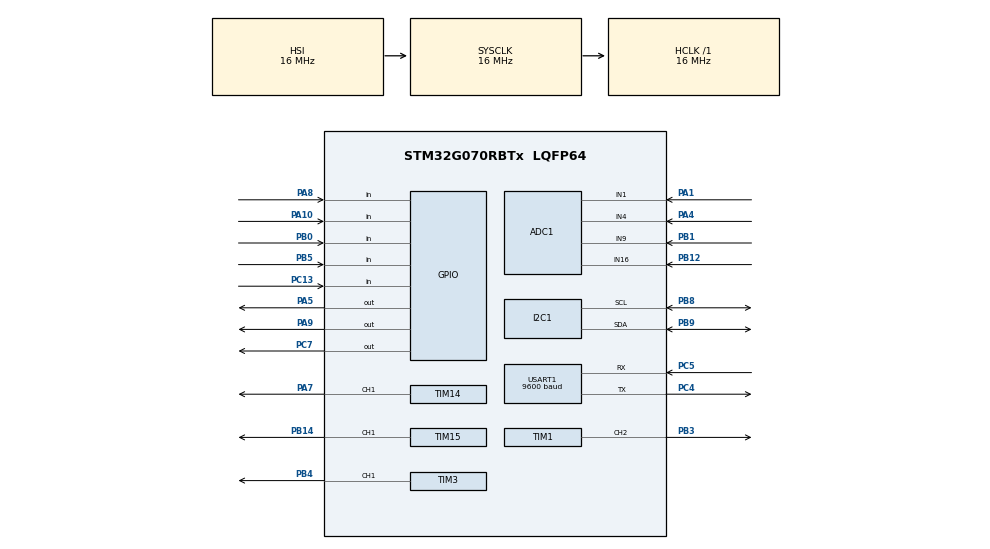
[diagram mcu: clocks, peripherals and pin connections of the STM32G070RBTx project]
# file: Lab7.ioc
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ADC1.DiscontinuousConvMode=ENABLE
ADC1.NbrOfConversion=1
ADC1.NbrOfConversionFlag=0
ADC1.SelectedChannel=ADC_CHANNEL_1|ADC_CHANNEL_4|ADC_CHANNEL_9|ADC_CHANNEL_16
ADC1.Sequencer=NOT_FULLY_CONFIGURABLE
ADC1.master=1
Mcu.Family=STM32G0
Mcu.Name=STM32G070RBTx
Mcu.Package=LQFP64
NVIC.ADC1_IRQn=true\:0\:0\:false\:false\:true\:true\:true\:true
NVIC.USART1_IRQn=true\:0\:0\:false\:false\:true\:true\:true\:true
PA1.Mode=IN1
PA1.Signal=ADC1_IN1
PA10.Signal=GPIO_Input
PA4.Mode=IN4
PA4.Signal=ADC1_IN4
PA5.Signal=GPIO_Output
PA7.Signal=S_TIM14_CH1
PA8.Signal=GPIO_Input
PA9.Signal=GPIO_Output
PB0.Signal=GPIO_Input
PB1.Mode=IN9
PB1.Signal=ADC1_IN9
PB12.Mode=IN16
PB12.Signal=ADC1_IN16
PB14.Signal=S_TIM15_CH1
PB3.Signal=S_TIM1_CH2
PB4.Signal=S_TIM3_CH1
PB5.Signal=GPIO_Input
PB8.Mode=I2C
PB8.Signal=I2C1_SCL
PB9.Mode=I2C
PB9.Signal=I2C1_SDA
PC13.Signal=GPIO_Input
PC4.Mode=Asynchronous
PC4.Signal=USART1_TX
PC5.Mode=Asynchronous
PC5.Signal=USART1_RX
PC7.Signal=GPIO_Output
ProjectManager.HeapSize=0x200
ProjectManager.StackSize=0x400
ProjectManager.TargetToolchain=EWARM V8.32
RCC.AHBFreq_Value=16000000
RCC.CortexFreq_Value=16000000
RCC.EXTERNAL_CLOCK_VALUE=48000
RCC.HCLKFreq_Value=16000000
RCC.HSE_VALUE=8000000
RCC.HSI_VALUE=16000000
RCC.LSE_VALUE=32768
RCC.SYSCLKFreq_VALUE=16000000
RCC.VCOOutputFreq_Value=128000000
SH.S_TIM14_CH1.0=TIM14_CH1,PWM Generation1 CH1
SH.S_TIM15_CH1.0=TIM15_CH1,PWM Generation1 CH1
SH.S_TIM1_CH2.0=TIM1_CH2,PWM Generation2 CH2
SH.S_TIM3_CH1.0=TIM3_CH1,PWM Generation1 CH1
TIM1.Channel-PWM\ Generation2\ CH2=TIM_CHANNEL_2
TIM14.Channel=TIM_CHANNEL_1
TIM14.Period=7000
TIM14.Pulse=3500
TIM15.Channel-PWM\ Generation1\ CH1=TIM_CHANNEL_1
TIM3.Channel-PWM\ Generation1\ CH1=TIM_CHANNEL_1
USART1.BaudRate=9600
USART1.VirtualMode-Asynchronous=VM_ASYNC
VP_SYS_VS_DBSignals.Mode=DisableDeadBatterySignals
VP_TIM14_VS_ClockSourceINT.Mode=Enable_Timer
VP_TIM15_VS_ClockSourceINT.Mode=Internal
VP_TIM1_VS_ClockSourceINT.Mode=Internal
VP_TIM3_VS_ClockSourceINT.Mode=Internal
board=custom

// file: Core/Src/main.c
/* USER CODE BEGIN Header */
/**
  ******************************************************************************
  * @file           : main.c
  * @brief          : Main program body
  ******************************************************************************
  * @attention
  *
  * <h2><center>&copy; Copyright (c) 2021 STMicroelectronics.
  * All rights reserved.</center></h2>
  *
  * This software component is licensed by ST under BSD 3-Clause license,
  * the "License"; You may not use this file except in compliance with the
  * License. You may obtain a copy of the License at:
  *                        opensource.org/licenses/BSD-3-Clause
  *
  ******************************************************************************
  */
/* USER CODE END Header */
#include "main.h"

/* USER CODE BEGIN Includes */
#include "KeyboardHoldRepeat.h"
#include "waveform_16.h"
#include "serial.h"
#include "serial_user.h"
#include "fonts.h"
#include "ssd1306.h"
#include "ux_manager.h"
#include "thermistor.h"
#include "average.h"
#include "Thermocouple.h"

/* USER CODE END Includes */

ADC_HandleTypeDef hadc1;

I2C_HandleTypeDef hi2c1;

TIM_HandleTypeDef htim1;
TIM_HandleTypeDef htim3;
TIM_HandleTypeDef htim14;
TIM_HandleTypeDef htim15;

UART_HandleTypeDef huart1;

/* USER CODE BEGIN PV */
// scheduler stuff
extern uint8_t ten_mS_Flag;
extern uint8_t twentyfive_mS_Flag;
extern uint8_t hundred_mS_Flag;
extern uint8_t one_S_Flag;
#define FIVE_SEC_SEED 5
uint8_t five_S_Counter = FIVE_SEC_SEED;

// LED Control
TIM_OC_InitTypeDef rConfigOC = {0}; // timer 1
TIM_OC_InitTypeDef gConfigOC = {0}; // timer 3
TIM_OC_InitTypeDef bConfigOC = {0}; // timer 15

#define LED_RAMP_TABLE half_sine_table_16_256
//#define LED_RAMP_TABLE linear_ramp_table_16_256
//#define LED_RAMP_TABLE triangle_wave_table_16_256
#define R_INDEX_START 0
#define G_INDEX_START 86
#define B_INDEX_START 172
uint8_t rIndex = R_INDEX_START;
uint8_t gIndex = G_INDEX_START;
uint8_t bIndex = B_INDEX_START;
uint8_t rampRed = true;
uint8_t rampGreen = true;
uint8_t rampBlue = true;
uint16_t ledLevel = 0;
uint8_t changeLeds = false;
uint8_t skipNumber = 8;

// Keyboard
uint8_t keyCode = NO_KEY_PRESSED;

// Display
uint8_t ms200 = false;

// ADC
//number of channels is defined in main.h
uint16_t adcResults[NUMBER_OF_ADC_CHANNELS + 2];                // The locations for the ADC channels
uint8_t adcChanIndex = 0;                                       // State machine variable for reading the ADC (shared with interrupt)

// Thermistor / TC
int16_t thTempInC;
int16_16_average tcAveVoltage;
int16_t tcVoltage;
int16_t tcTempInC;

uint32_t tempture[5][5] = {{175, 175, 175, 175, 170},    // Chicken
                          {125, 135, 145, 150, 160},   //Beef
                          {140, 145, 160, 165, 170},    //Lamb
                          {120, 125, 130, 135, 140},    //Salmon
                          {100, 115, 125, 135, 140}     //Veggie
                         };
uint8_t beepActive = false;
uint8_t beepDisabled = true;
uint8_t beepTime = 0;
/* USER CODE END PV */

void SystemClock_Config(void);
static void MX_GPIO_Init(void);
static void MX_ADC1_Init(void);
static void MX_TIM1_Init(void);
static void MX_TIM3_Init(void);
static void MX_TIM15_Init(void);
static void MX_USART1_UART_Init(void);
static void MX_I2C1_Init(void);
static void MX_TIM14_Init(void);
/* USER CODE BEGIN PFP */
void InitValuesPWM(void);
void SetRedLedLevel(uint16_t r_level);
void SetGreenLedLevel(uint16_t g_level);
void SetBlueLedLevel(uint16_t b_level);
/* USER CODE END PFP */

int main(void)
{

  /* MCU Configuration--------------------------------------------------------*/

  /* Reset of all peripherals, Initializes the Flash interface and the Systick. */
  HAL_Init();

  /* Configure the system clock */
  SystemClock_Config();

  /* Initialize all configured peripherals */
  MX_GPIO_Init();
  MX_ADC1_Init();
  MX_TIM1_Init();
  MX_TIM3_Init();
  MX_TIM15_Init();
  MX_USART1_UART_Init();
  MX_I2C1_Init();
  MX_TIM14_Init();
  /* USER CODE BEGIN 2 */

  // This was messing up the button inputs. There is an internal resistive
  // connection (on this part only) between some IO pins and this turns it off
  // get rid of the pulldowns/crosswire from reset
  HAL_SYSCFG_StrobeDBattpinsConfig(SYSCFG_UCPD1_STROBE);

  // UART related init
  HAL_UART_Transmit(&huart1,"Mornin'!\r\n", 10, 1000); // this tests the UART functionalit

  LL_USART_EnableIT_RXNE_RXFNE(USART1); // this line turns on the UART receive interrupt.

  SendString("\r\nBongiorno!\r\n", 14, StripZeros, AddCRLF);  // this function cal tests the transmit UART interrupt.

  // PWM realted init
  void InitValuesPWM(void);

  HAL_TIM_PWM_Start_IT(&htim15, TIM_CHANNEL_1);
  HAL_TIM_PWM_Start_IT(&htim3, TIM_CHANNEL_1);
  HAL_TIM_PWM_Start_IT(&htim1, TIM_CHANNEL_2);

  // Display related init
  SSD1306_Init();  // initialise

  SSD1306_InvertDisplay(1);
  SSD1306_Clear();
  SSD1306_GotoXY (0,0);
  SSD1306_Puts("Spider-Man", &Font_11x18, SSD1306_COLOR_WHITE);
  SSD1306_GotoXY(0,30);
  SSD1306_Puts("Arif's Thermometer", &Font_7x10, SSD1306_COLOR_WHITE);
  SSD1306_UpdateScreen();

  HAL_Delay (2000);

  SwitchScreens(MAIN);

  InitInt16RunAverage16(&tcAveVoltage);

  HAL_GPIO_WritePin(GPIOC, GPIO_PIN_7, GPIO_PIN_SET);
  HAL_GPIO_WritePin(GPIOA, GPIO_PIN_5, GPIO_PIN_SET);
  /* USER CODE END 2 */

  /* Infinite loop */
  /* USER CODE BEGIN WHILE */
  while (1)
  {
    //---------------------------------
    // 10mS Tasks
    if (ten_mS_Flag) {
      ten_mS_Flag = false;

    }  // end of 10mS Tasks
    //---------------------------------

    //---------------------------------
    // 25mS Tasks
    if (twentyfive_mS_Flag) {
      twentyfive_mS_Flag = false;

      keyCode = ScanKeyboard();
      DebounceKeyCode(keyCode);

      // If we've gotten a valid debounced keyCode, process it
      if (processKeyCode == true) {
        processKeyCode = false;
        ProcessKeyCodeInContext(keyCode);
      }

      HAL_ADC_Start_IT(&hadc1);

    }  // end of 25mS Tasks
    //---------------------------------

    //---------------------------------
    // 100mS Tasks
    if (hundred_mS_Flag) {
      hundred_mS_Flag = false;

      if (beepActive) {
          if (++beepTime == 5) {
            HAL_TIM_PWM_Start(&htim14, TIM_CHANNEL_1);
          }
          else if (beepTime >= 10) {
            HAL_TIM_PWM_Stop(&htim14, TIM_CHANNEL_1);
            beepTime = 0;
            if (beepDisabled) {
              beepActive = false;
              beepDisabled = false;
            }
          }
        }

      if (finished) {
        if(tempInF.data >= tempture[index1][index2]){
        SetRedLedLevel(LED_RAMP_TABLE[rIndex]);
        SetGreenLedLevel(LED_RAMP_TABLE[gIndex]);
        SetBlueLedLevel(LED_RAMP_TABLE[bIndex]);
        rIndex += skipNumber;
        gIndex += skipNumber;
        bIndex += skipNumber;
        beepActive = true;
        beepDisabled = false;
        }
        else {
        SetRedLedLevel(0);
        SetGreenLedLevel(0);
        SetBlueLedLevel(0);
        rIndex = 0;
        gIndex = 0;
        bIndex = 0;
        beepDisabled = true;
        }

      } else {
        SetRedLedLevel(0);
        SetGreenLedLevel(0);
        SetBlueLedLevel(0);
        rIndex = 0;
        gIndex = 0;
        bIndex = 0;
        beepDisabled = true;
      }

      ms200 ^= 1;
      if (ms200 == true) {
        UpdateScreenValues();
      }

    }  // end of 100mS Tasks
    //---------------------------------

    //---------------------------------
    // 1 Sec Tasks
    if (one_S_Flag) {
      one_S_Flag = false;

//      counter.data += 3.2;
//      if (counter.data > 48) {
//        counter.data = 0;
//      }

      thTempInC = ThermCounts2DegC(adcResults[3]);
      tcVoltage = Int16RunAverage16(adcResults[1], &tcAveVoltage);
      tcTempInC = ConvertTC_Voltage2TempInC(tcVoltage);

      if (thTempInC == 10000 || tcTempInC == 10000) {
        tempInF.valid = false;
        tempInC.valid = false;
      } else {
        tempInF.valid = true;
        tempInC.valid = true;
      }
      tempInF.data =  C2F(thTempInC + tcTempInC, ISNT_IN_TENTHS);
      tempInC.data = thTempInC + tcTempInC;

      if (finished) {
        if(tempInF.data >= tempture[index1][index2]){
          HAL_GPIO_WritePin(GPIOA, GPIO_PIN_9, GPIO_PIN_RESET);
        }
        else {
          HAL_GPIO_WritePin(GPIOA, GPIO_PIN_9, GPIO_PIN_SET);
        }
      }
      else {
        HAL_GPIO_WritePin(GPIOA, GPIO_PIN_9, GPIO_PIN_SET);
      }

    } // end of 1Sec Tasks
    //---------------------------------

    //---------------------------------
    // Every time through the loop

    // end Every time through the loop
    //---------------------------------

    /* USER CODE END WHILE */

  }
}

void SystemClock_Config(void)
{
  RCC_OscInitTypeDef RCC_OscInitStruct = {0};
  RCC_ClkInitTypeDef RCC_ClkInitStruct = {0};
  RCC_PeriphCLKInitTypeDef PeriphClkInit = {0};

  /** Configure the main internal regulator output voltage
  */
  HAL_PWREx_ControlVoltageScaling(PWR_REGULATOR_VOLTAGE_SCALE1);
  /** Initializes the RCC Oscillators according to the specified parameters
  * in the RCC_OscInitTypeDef structure.
  */
  RCC_OscInitStruct.OscillatorType = RCC_OSCILLATORTYPE_HSI;
  RCC_OscInitStruct.HSIState = RCC_HSI_ON;
  RCC_OscInitStruct.HSIDiv = RCC_HSI_DIV1;
  RCC_OscInitStruct.HSICalibrationValue = RCC_HSICALIBRATION_DEFAULT;
  RCC_OscInitStruct.PLL.PLLState = RCC_PLL_NONE;
  if (HAL_RCC_OscConfig(&RCC_OscInitStruct) != HAL_OK)
  {
    Error_Handler();
  }
  /** Initializes the CPU, AHB and APB buses clocks
  */
  RCC_ClkInitStruct.ClockType = RCC_CLOCKTYPE_HCLK|RCC_CLOCKTYPE_SYSCLK
                              |RCC_CLOCKTYPE_PCLK1;
  RCC_ClkInitStruct.SYSCLKSource = RCC_SYSCLKSOURCE_HSI;
  RCC_ClkInitStruct.AHBCLKDivider = RCC_SYSCLK_DIV1;
  RCC_ClkInitStruct.APB1CLKDivider = RCC_HCLK_DIV1;

  if (HAL_RCC_ClockConfig(&RCC_ClkInitStruct, FLASH_LATENCY_0) != HAL_OK)
  {
    Error_Handler();
  }
  /** Initializes the peripherals clocks
  */
  PeriphClkInit.PeriphClockSelection = RCC_PERIPHCLK_USART1|RCC_PERIPHCLK_I2C1
                              |RCC_PERIPHCLK_ADC;
  PeriphClkInit.Usart1ClockSelection = RCC_USART1CLKSOURCE_PCLK1;
  PeriphClkInit.I2c1ClockSelection = RCC_I2C1CLKSOURCE_PCLK1;
  PeriphClkInit.AdcClockSelection = RCC_ADCCLKSOURCE_SYSCLK;
  if (HAL_RCCEx_PeriphCLKConfig(&PeriphClkInit) != HAL_OK)
  {
    Error_Handler();
  }
}

static void MX_ADC1_Init(void)
{

  ADC_ChannelConfTypeDef sConfig = {0};

  /** Configure the global features of the ADC (Clock, Resolution, Data Alignment and number of conversion)
  */
  hadc1.Instance = ADC1;
  hadc1.Init.ClockPrescaler = ADC_CLOCK_SYNC_PCLK_DIV2;
  hadc1.Init.Resolution = ADC_RESOLUTION_12B;
  hadc1.Init.DataAlign = ADC_DATAALIGN_RIGHT;
  hadc1.Init.ScanConvMode = ADC_SCAN_SEQ_FIXED;
  hadc1.Init.EOCSelection = ADC_EOC_SINGLE_CONV;
  hadc1.Init.LowPowerAutoWait = DISABLE;
  hadc1.Init.LowPowerAutoPowerOff = DISABLE;
  hadc1.Init.ContinuousConvMode = DISABLE;
  hadc1.Init.NbrOfConversion = 1;
  hadc1.Init.DiscontinuousConvMode = ENABLE;
  hadc1.Init.ExternalTrigConv = ADC_SOFTWARE_START;
  hadc1.Init.ExternalTrigConvEdge = ADC_EXTERNALTRIGCONVEDGE_NONE;
  hadc1.Init.DMAContinuousRequests = DISABLE;
  hadc1.Init.Overrun = ADC_OVR_DATA_PRESERVED;
  hadc1.Init.SamplingTimeCommon1 = ADC_SAMPLETIME_1CYCLE_5;
  hadc1.Init.OversamplingMode = DISABLE;
  hadc1.Init.TriggerFrequencyMode = ADC_TRIGGER_FREQ_HIGH;
  if (HAL_ADC_Init(&hadc1) != HAL_OK)
  {
    Error_Handler();
  }
  /** Configure Regular Channel
  */
  sConfig.Channel = ADC_CHANNEL_1;
  sConfig.Rank = ADC_RANK_CHANNEL_NUMBER;
  if (HAL_ADC_ConfigChannel(&hadc1, &sConfig) != HAL_OK)
  {
    Error_Handler();
  }
  /** Configure Regular Channel
  */
  sConfig.Channel = ADC_CHANNEL_4;
  if (HAL_ADC_ConfigChannel(&hadc1, &sConfig) != HAL_OK)
  {
    Error_Handler();
  }
  /** Configure Regular Channel
  */
  sConfig.Channel = ADC_CHANNEL_9;
  if (HAL_ADC_ConfigChannel(&hadc1, &sConfig) != HAL_OK)
  {
    Error_Handler();
  }
  /** Configure Regular Channel
  */
  sConfig.Channel = ADC_CHANNEL_16;
  if (HAL_ADC_ConfigChannel(&hadc1, &sConfig) != HAL_OK)
  {
    Error_Handler();
  }

}

static void MX_I2C1_Init(void)
{

  hi2c1.Instance = I2C1;
  hi2c1.Init.Timing = 0x00303D5B;
  hi2c1.Init.OwnAddress1 = 0;
  hi2c1.Init.AddressingMode = I2C_ADDRESSINGMODE_7BIT;
  hi2c1.Init.DualAddressMode = I2C_DUALADDRESS_DISABLE;
  hi2c1.Init.OwnAddress2 = 0;
  hi2c1.Init.OwnAddress2Masks = I2C_OA2_NOMASK;
  hi2c1.Init.GeneralCallMode = I2C_GENERALCALL_DISABLE;
  hi2c1.Init.NoStretchMode = I2C_NOSTRETCH_DISABLE;
  if (HAL_I2C_Init(&hi2c1) != HAL_OK)
  {
    Error_Handler();
  }
  /** Configure Analogue filter
  */
  if (HAL_I2CEx_ConfigAnalogFilter(&hi2c1, I2C_ANALOGFILTER_ENABLE) != HAL_OK)
  {
    Error_Handler();
  }
  /** Configure Digital filter
  */
  if (HAL_I2CEx_ConfigDigitalFilter(&hi2c1, 0) != HAL_OK)
  {
    Error_Handler();
  }

}

static void MX_TIM1_Init(void)
{

  TIM_ClockConfigTypeDef sClockSourceConfig = {0};
  TIM_MasterConfigTypeDef sMasterConfig = {0};
  TIM_OC_InitTypeDef sConfigOC = {0};
  TIM_BreakDeadTimeConfigTypeDef sBreakDeadTimeConfig = {0};

  htim1.Instance = TIM1;
  htim1.Init.Prescaler = 0;
  htim1.Init.CounterMode = TIM_COUNTERMODE_UP;
  htim1.Init.Period = 65535;
  htim1.Init.ClockDivision = TIM_CLOCKDIVISION_DIV1;
  htim1.Init.RepetitionCounter = 0;
  htim1.Init.AutoReloadPreload = TIM_AUTORELOAD_PRELOAD_DISABLE;
  if (HAL_TIM_Base_Init(&htim1) != HAL_OK)
  {
    Error_Handler();
  }
  sClockSourceConfig.ClockSource = TIM_CLOCKSOURCE_INTERNAL;
  if (HAL_TIM_ConfigClockSource(&htim1, &sClockSourceConfig) != HAL_OK)
  {
    Error_Handler();
  }
  if (HAL_TIM_PWM_Init(&htim1) != HAL_OK)
  {
    Error_Handler();
  }
  sMasterConfig.MasterOutputTrigger = TIM_TRGO_RESET;
  sMasterConfig.MasterOutputTrigger2 = TIM_TRGO2_RESET;
  sMasterConfig.MasterSlaveMode = TIM_MASTERSLAVEMODE_DISABLE;
  if (HAL_TIMEx_MasterConfigSynchronization(&htim1, &sMasterConfig) != HAL_OK)
  {
    Error_Handler();
  }
  sConfigOC.OCMode = TIM_OCMODE_PWM1;
  sConfigOC.Pulse = 0;
  sConfigOC.OCPolarity = TIM_OCPOLARITY_HIGH;
  sConfigOC.OCNPolarity = TIM_OCNPOLARITY_HIGH;
  sConfigOC.OCFastMode = TIM_OCFAST_DISABLE;
  sConfigOC.OCIdleState = TIM_OCIDLESTATE_RESET;
  sConfigOC.OCNIdleState = TIM_OCNIDLESTATE_RESET;
  if (HAL_TIM_PWM_ConfigChannel(&htim1, &sConfigOC, TIM_CHANNEL_2) != HAL_OK)
  {
    Error_Handler();
  }
  sBreakDeadTimeConfig.OffStateRunMode = TIM_OSSR_DISABLE;
  sBreakDeadTimeConfig.OffStateIDLEMode = TIM_OSSI_DISABLE;
  sBreakDeadTimeConfig.LockLevel = TIM_LOCKLEVEL_OFF;
  sBreakDeadTimeConfig.DeadTime = 0;
  sBreakDeadTimeConfig.BreakState = TIM_BREAK_DISABLE;
  sBreakDeadTimeConfig.BreakPolarity = TIM_BREAKPOLARITY_HIGH;
  sBreakDeadTimeConfig.BreakFilter = 0;
  sBreakDeadTimeConfig.BreakAFMode = TIM_BREAK_AFMODE_INPUT;
  sBreakDeadTimeConfig.Break2State = TIM_BREAK2_DISABLE;
  sBreakDeadTimeConfig.Break2Polarity = TIM_BREAK2POLARITY_HIGH;
  sBreakDeadTimeConfig.Break2Filter = 0;
  sBreakDeadTimeConfig.Break2AFMode = TIM_BREAK_AFMODE_INPUT;
  sBreakDeadTimeConfig.AutomaticOutput = TIM_AUTOMATICOUTPUT_DISABLE;
  if (HAL_TIMEx_ConfigBreakDeadTime(&htim1, &sBreakDeadTimeConfig) != HAL_OK)
  {
    Error_Handler();
  }
  HAL_TIM_MspPostInit(&htim1);

}

static void MX_TIM3_Init(void)
{

  TIM_ClockConfigTypeDef sClockSourceConfig = {0};
  TIM_MasterConfigTypeDef sMasterConfig = {0};
  TIM_OC_InitTypeDef sConfigOC = {0};

  htim3.Instance = TIM3;
  htim3.Init.Prescaler = 0;
  htim3.Init.CounterMode = TIM_COUNTERMODE_UP;
  htim3.Init.Period = 65535;
  htim3.Init.ClockDivision = TIM_CLOCKDIVISION_DIV1;
  htim3.Init.AutoReloadPreload = TIM_AUTORELOAD_PRELOAD_DISABLE;
  if (HAL_TIM_Base_Init(&htim3) != HAL_OK)
  {
    Error_Handler();
  }
  sClockSourceConfig.ClockSource = TIM_CLOCKSOURCE_INTERNAL;
  if (HAL_TIM_ConfigClockSource(&htim3, &sClockSourceConfig) != HAL_OK)
  {
    Error_Handler();
  }
  if (HAL_TIM_PWM_Init(&htim3) != HAL_OK)
  {
    Error_Handler();
  }
  sMasterConfig.MasterOutputTrigger = TIM_TRGO_RESET;
  sMasterConfig.MasterSlaveMode = TIM_MASTERSLAVEMODE_DISABLE;
  if (HAL_TIMEx_MasterConfigSynchronization(&htim3, &sMasterConfig) != HAL_OK)
  {
    Error_Handler();
  }
  sConfigOC.OCMode = TIM_OCMODE_PWM1;
  sConfigOC.Pulse = 0;
  sConfigOC.OCPolarity = TIM_OCPOLARITY_HIGH;
  sConfigOC.OCFastMode = TIM_OCFAST_DISABLE;
  if (HAL_TIM_PWM_ConfigChannel(&htim3, &sConfigOC, TIM_CHANNEL_1) != HAL_OK)
  {
    Error_Handler();
  }
  HAL_TIM_MspPostInit(&htim3);

}

static void MX_TIM14_Init(void)
{

  TIM_OC_InitTypeDef sConfigOC = {0};

  htim14.Instance = TIM14;
  htim14.Init.Prescaler = 0;
  htim14.Init.CounterMode = TIM_COUNTERMODE_UP;
  htim14.Init.Period = 7000;
  htim14.Init.ClockDivision = TIM_CLOCKDIVISION_DIV1;
  htim14.Init.AutoReloadPreload = TIM_AUTORELOAD_PRELOAD_DISABLE;
  if (HAL_TIM_Base_Init(&htim14) != HAL_OK)
  {
    Error_Handler();
  }
  if (HAL_TIM_PWM_Init(&htim14) != HAL_OK)
  {
    Error_Handler();
  }
  sConfigOC.OCMode = TIM_OCMODE_PWM1;
  sConfigOC.Pulse = 3500;
  sConfigOC.OCPolarity = TIM_OCPOLARITY_HIGH;
  sConfigOC.OCFastMode = TIM_OCFAST_DISABLE;
  if (HAL_TIM_PWM_ConfigChannel(&htim14, &sConfigOC, TIM_CHANNEL_1) != HAL_OK)
  {
    Error_Handler();
  }
  HAL_TIM_MspPostInit(&htim14);

}

static void MX_TIM15_Init(void)
{

  TIM_ClockConfigTypeDef sClockSourceConfig = {0};
  TIM_MasterConfigTypeDef sMasterConfig = {0};
  TIM_OC_InitTypeDef sConfigOC = {0};
  TIM_BreakDeadTimeConfigTypeDef sBreakDeadTimeConfig = {0};

  htim15.Instance = TIM15;
  htim15.Init.Prescaler = 0;
  htim15.Init.CounterMode = TIM_COUNTERMODE_UP;
  htim15.Init.Period = 65535;
  htim15.Init.ClockDivision = TIM_CLOCKDIVISION_DIV1;
  htim15.Init.RepetitionCounter = 0;
  htim15.Init.AutoReloadPreload = TIM_AUTORELOAD_PRELOAD_DISABLE;
  if (HAL_TIM_Base_Init(&htim15) != HAL_OK)
  {
    Error_Handler();
  }
  sClockSourceConfig.ClockSource = TIM_CLOCKSOURCE_INTERNAL;
  if (HAL_TIM_ConfigClockSource(&htim15, &sClockSourceConfig) != HAL_OK)
  {
    Error_Handler();
  }
  if (HAL_TIM_PWM_Init(&htim15) != HAL_OK)
  {
    Error_Handler();
  }
  sMasterConfig.MasterOutputTrigger = TIM_TRGO_RESET;
  sMasterConfig.MasterSlaveMode = TIM_MASTERSLAVEMODE_DISABLE;
  if (HAL_TIMEx_MasterConfigSynchronization(&htim15, &sMasterConfig) != HAL_OK)
  {
    Error_Handler();
  }
  sConfigOC.OCMode = TIM_OCMODE_PWM1;
  sConfigOC.Pulse = 0;
  sConfigOC.OCPolarity = TIM_OCPOLARITY_HIGH;
  sConfigOC.OCNPolarity = TIM_OCNPOLARITY_HIGH;
  sConfigOC.OCFastMode = TIM_OCFAST_DISABLE;
  sConfigOC.OCIdleState = TIM_OCIDLESTATE_RESET;
  sConfigOC.OCNIdleState = TIM_OCNIDLESTATE_RESET;
  if (HAL_TIM_PWM_ConfigChannel(&htim15, &sConfigOC, TIM_CHANNEL_1) != HAL_OK)
  {
    Error_Handler();
  }
  sBreakDeadTimeConfig.OffStateRunMode = TIM_OSSR_DISABLE;
  sBreakDeadTimeConfig.OffStateIDLEMode = TIM_OSSI_DISABLE;
  sBreakDeadTimeConfig.LockLevel = TIM_LOCKLEVEL_OFF;
  sBreakDeadTimeConfig.DeadTime = 0;
  sBreakDeadTimeConfig.BreakState = TIM_BREAK_DISABLE;
  sBreakDeadTimeConfig.BreakPolarity = TIM_BREAKPOLARITY_HIGH;
  sBreakDeadTimeConfig.BreakFilter = 0;
  sBreakDeadTimeConfig.AutomaticOutput = TIM_AUTOMATICOUTPUT_DISABLE;
  if (HAL_TIMEx_ConfigBreakDeadTime(&htim15, &sBreakDeadTimeConfig) != HAL_OK)
  {
    Error_Handler();
  }
  HAL_TIM_MspPostInit(&htim15);

}

static void MX_USART1_UART_Init(void)
{

  huart1.Instance = USART1;
  huart1.Init.BaudRate = 9600;
  huart1.Init.WordLength = UART_WORDLENGTH_8B;
  huart1.Init.StopBits = UART_STOPBITS_1;
  huart1.Init.Parity = UART_PARITY_NONE;
  huart1.Init.Mode = UART_MODE_TX_RX;
  huart1.Init.HwFlowCtl = UART_HWCONTROL_NONE;
  huart1.Init.OverSampling = UART_OVERSAMPLING_16;
  huart1.Init.OneBitSampling = UART_ONE_BIT_SAMPLE_DISABLE;
  huart1.Init.ClockPrescaler = UART_PRESCALER_DIV1;
  huart1.AdvancedInit.AdvFeatureInit = UART_ADVFEATURE_NO_INIT;
  if (HAL_UART_Init(&huart1) != HAL_OK)
  {
    Error_Handler();
  }
  if (HAL_UARTEx_SetTxFifoThreshold(&huart1, UART_TXFIFO_THRESHOLD_1_8) != HAL_OK)
  {
    Error_Handler();
  }
  if (HAL_UARTEx_SetRxFifoThreshold(&huart1, UART_RXFIFO_THRESHOLD_1_8) != HAL_OK)
  {
    Error_Handler();
  }
  if (HAL_UARTEx_DisableFifoMode(&huart1) != HAL_OK)
  {
    Error_Handler();
  }

}

static void MX_GPIO_Init(void)
{
  GPIO_InitTypeDef GPIO_InitStruct = {0};

  /* GPIO Ports Clock Enable */
  __HAL_RCC_GPIOC_CLK_ENABLE();
  __HAL_RCC_GPIOA_CLK_ENABLE();
  __HAL_RCC_GPIOB_CLK_ENABLE();

  /*Configure GPIO pin Output Level */
  HAL_GPIO_WritePin(GPIOA, GPIO_PIN_5|GPIO_PIN_9, GPIO_PIN_RESET);

  /*Configure GPIO pin Output Level */
  HAL_GPIO_WritePin(GPIOC, GPIO_PIN_7, GPIO_PIN_RESET);

  /*Configure GPIO pin : PC13 */
  GPIO_InitStruct.Pin = GPIO_PIN_13;
  GPIO_InitStruct.Mode = GPIO_MODE_INPUT;
  GPIO_InitStruct.Pull = GPIO_NOPULL;
  HAL_GPIO_Init(GPIOC, &GPIO_InitStruct);

  /*Configure GPIO pins : PA5 PA9 */
  GPIO_InitStruct.Pin = GPIO_PIN_5|GPIO_PIN_9;
  GPIO_InitStruct.Mode = GPIO_MODE_OUTPUT_PP;
  GPIO_InitStruct.Pull = GPIO_NOPULL;
  GPIO_InitStruct.Speed = GPIO_SPEED_FREQ_LOW;
  HAL_GPIO_Init(GPIOA, &GPIO_InitStruct);

  /*Configure GPIO pins : PB0 PB5 */
  GPIO_InitStruct.Pin = GPIO_PIN_0|GPIO_PIN_5;
  GPIO_InitStruct.Mode = GPIO_MODE_INPUT;
  GPIO_InitStruct.Pull = GPIO_NOPULL;
  HAL_GPIO_Init(GPIOB, &GPIO_InitStruct);

  /*Configure GPIO pins : PA8 PA10 */
  GPIO_InitStruct.Pin = GPIO_PIN_8|GPIO_PIN_10;
  GPIO_InitStruct.Mode = GPIO_MODE_INPUT;
  GPIO_InitStruct.Pull = GPIO_NOPULL;
  HAL_GPIO_Init(GPIOA, &GPIO_InitStruct);

  /*Configure GPIO pin : PC7 */
  GPIO_InitStruct.Pin = GPIO_PIN_7;
  GPIO_InitStruct.Mode = GPIO_MODE_OUTPUT_PP;
  GPIO_InitStruct.Pull = GPIO_NOPULL;
  GPIO_InitStruct.Speed = GPIO_SPEED_FREQ_LOW;
  HAL_GPIO_Init(GPIOC, &GPIO_InitStruct);

}

/* USER CODE BEGIN 4 */
void InitValuesPWM(void)
{
  // timer 1
  rConfigOC.OCMode = TIM_OCMODE_PWM1;
  rConfigOC.Pulse = 0;
  rConfigOC.OCPolarity = TIM_OCPOLARITY_HIGH;
  rConfigOC.OCNPolarity = TIM_OCNPOLARITY_HIGH;
  rConfigOC.OCFastMode = TIM_OCFAST_DISABLE;
  rConfigOC.OCIdleState = TIM_OCIDLESTATE_RESET;
  rConfigOC.OCNIdleState = TIM_OCNIDLESTATE_RESET;

  // timer 3
  gConfigOC.OCMode = TIM_OCMODE_PWM1;
  gConfigOC.Pulse = 0;
  gConfigOC.OCPolarity = TIM_OCPOLARITY_HIGH;
  gConfigOC.OCFastMode = TIM_OCFAST_DISABLE;

  // timer 15
  bConfigOC.OCMode = TIM_OCMODE_PWM1;
  bConfigOC.Pulse = 0;
  bConfigOC.OCPolarity = TIM_OCPOLARITY_HIGH;
  bConfigOC.OCNPolarity = TIM_OCNPOLARITY_HIGH;
  bConfigOC.OCFastMode = TIM_OCFAST_DISABLE;
  bConfigOC.OCIdleState = TIM_OCIDLESTATE_RESET;
  bConfigOC.OCNIdleState = TIM_OCNIDLESTATE_RESET;

}

void SetRedLedLevel(uint16_t r_level)
{
  TIM_OC_InitTypeDef sConfigOC = {0};

  sConfigOC.OCMode = TIM_OCMODE_PWM1;
  sConfigOC.Pulse = r_level;
  sConfigOC.OCPolarity = TIM_OCPOLARITY_HIGH;
  sConfigOC.OCNPolarity = TIM_OCNPOLARITY_HIGH;
  sConfigOC.OCFastMode = TIM_OCFAST_DISABLE;
  sConfigOC.OCIdleState = TIM_OCIDLESTATE_RESET;
  sConfigOC.OCNIdleState = TIM_OCNIDLESTATE_RESET;

  HAL_TIM_PWM_Stop(&htim1, TIM_CHANNEL_2);
  HAL_TIM_PWM_ConfigChannel(&htim1, &sConfigOC, TIM_CHANNEL_2);
  HAL_TIM_PWM_Start(&htim1, TIM_CHANNEL_2);
}

void SetGreenLedLevel(uint16_t g_level)
{
  TIM_OC_InitTypeDef sConfigOC = {0};

  sConfigOC.OCMode = TIM_OCMODE_PWM1;
  sConfigOC.Pulse = g_level;
  sConfigOC.OCPolarity = TIM_OCPOLARITY_HIGH;
  sConfigOC.OCFastMode = TIM_OCFAST_DISABLE;

  HAL_TIM_PWM_Stop(&htim3, TIM_CHANNEL_1);
  HAL_TIM_PWM_ConfigChannel(&htim3, &sConfigOC, TIM_CHANNEL_1);
  HAL_TIM_PWM_Start(&htim3, TIM_CHANNEL_1);
}

void SetBlueLedLevel(uint16_t b_level)
{
  TIM_OC_InitTypeDef sConfigOC = {0};

  sConfigOC.OCMode = TIM_OCMODE_PWM1;
  sConfigOC.Pulse = b_level;
  sConfigOC.OCPolarity = TIM_OCPOLARITY_HIGH;
  sConfigOC.OCNPolarity = TIM_OCNPOLARITY_HIGH;
  sConfigOC.OCFastMode = TIM_OCFAST_DISABLE;
  sConfigOC.OCIdleState = TIM_OCIDLESTATE_RESET;
  sConfigOC.OCNIdleState = TIM_OCNIDLESTATE_RESET;

  HAL_TIM_PWM_Stop(&htim15, TIM_CHANNEL_1);
  HAL_TIM_PWM_ConfigChannel(&htim15, &sConfigOC, TIM_CHANNEL_1);
  HAL_TIM_PWM_Start(&htim15, TIM_CHANNEL_1);
}

/* USER CODE END 4 */

void Error_Handler(void)
{
  __disable_irq();
  while (1)
  {
  }
}

/************************ (C) COPYRIGHT STMicroelectronics *****END OF FILE****/
